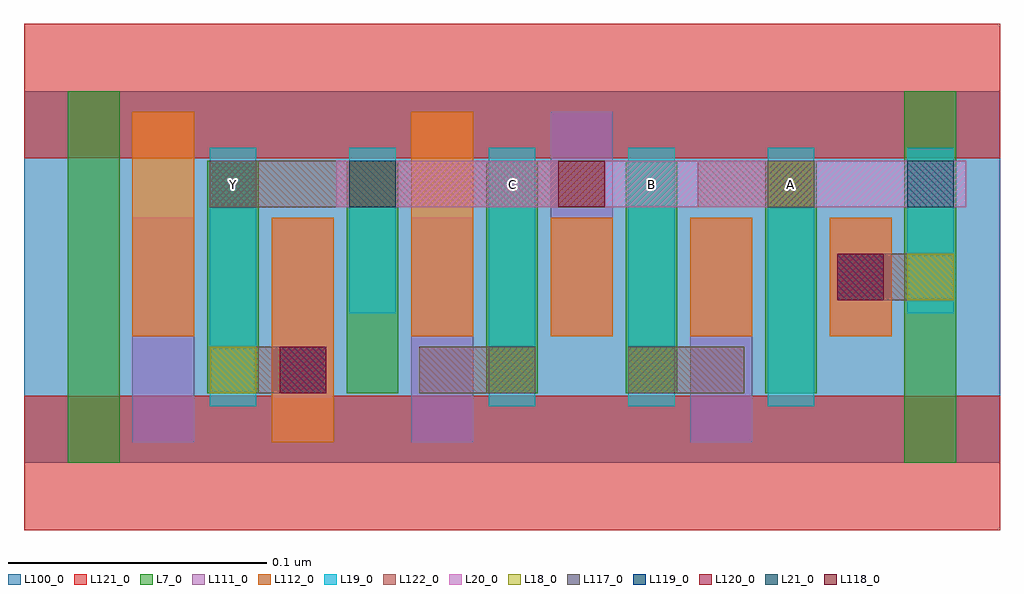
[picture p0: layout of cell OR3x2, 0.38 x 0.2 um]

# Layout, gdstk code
import gdstk
lib = gdstk.Library(unit=1e-6, precision=2.5e-10)
def R(c, l, rs):  # rectangles x0, y0, x1, y1
    for r in rs: c.add(gdstk.rectangle(r[:2], r[2:], *l))
def A(c, l, x, y, w, h, nx, ny, dx, dy):  # array of equal rectangles
    R(c, l, [(x+i*dx, y+j*dy, x+i*dx+w, y+j*dy+h) for i in range(nx) for j in range(ny)])
L7_0 = (7, 0)
L18_0 = (18, 0)
L19_0 = (19, 0)
L20_0 = (20, 0)
L21_0 = (21, 0)
L100_0 = (100, 0)
L111_0 = (111, 0)
L112_0 = (112, 0)
L117_0 = (117, 0)
L118_0 = (118, 0)
L119_0 = (119, 0)
L120_0 = (120, 0)
L121_0 = (121, 0)
L122_0 = (122, 0)

or3x2 = lib.new_cell('OR3x2')
A(or3x2, L7_0, 0.071, 0.027, 0.02, 0.09, 5, 1, 0.054, 0)
R(or3x2, L7_0, [(0.017,0,0.037,0.144), (0.341,0,0.361,0.144)])
R(or3x2, L18_0, [(0.072,0.027,0.09,0.045), (0.18,0.027,0.198,0.045), (0.234,0.027,0.252,0.045), (0.342,0.063,0.36,0.081), (0.126,0.099,0.144,0.117), (0.288,0.099,0.306,0.117)])
A(or3x2, L19_0, 0.18, 0.022, 0.018, 0.1, 3, 1, 0.054, 0)
R(or3x2, L19_0, [(0.072,0.022,0.09,0.122), (0.126,0.058,0.144,0.122), (0.342,0.058,0.36,0.122)])
R(or3x2, L20_0, [(0.121,0.099,0.365,0.117)])
R(or3x2, L21_0, [(0.126,0.099,0.144,0.117), (0.342,0.099,0.36,0.117)])
R(or3x2, L100_0, [(0,0,0.378,0.144)])
A(or3x2, L111_0, 0.042, 0.008, 0.024, 0.087, 3, 1, 0.054, 0)
R(or3x2, L111_0, [(0.258,0.008,0.282,0.095), (0.204,0.049,0.228,0.136), (0.312,0.049,0.336,0.095)])
A(or3x2, L112_0, 0.204, 0.049, 0.024, 0.046, 3, 1, 0.054, 0)
R(or3x2, L112_0, [(0.096,0.008,0.12,0.095), (0.042,0.049,0.066,0.136), (0.15,0.049,0.174,0.136)])
R(or3x2, L117_0, [(0.18,0.027,0.198,0.045), (0.234,0.027,0.252,0.045), (0.072,0.099,0.09,0.117), (0.126,0.099,0.144,0.117), (0.288,0.099,0.306,0.117)])
R(or3x2, L118_0, [(0.207,0.099,0.225,0.117)])
R(or3x2, L119_0, [(0.099,0.027,0.117,0.045), (0.315,0.063,0.333,0.081)])
R(or3x2, L120_0, [(0.099,0.027,0.117,0.045), (0.315,0.063,0.333,0.081)])
R(or3x2, L121_0, [(0,-0.026,0.378,0.026), (0,0.118,0.378,0.17)])
A(or3x2, L122_0, 0.072, 0.027, 0.045, 0.018, 3, 1, 0.081, 0)
R(or3x2, L122_0, [(0.315,0.063,0.36,0.081), (0.072,0.099,0.225,0.117), (0.261,0.099,0.306,0.117)])
or3x2.add(gdstk.Label('Y', (0.081,0.108), layer=19, texttype=251))
or3x2.add(gdstk.Label('C', (0.189,0.108), layer=19, texttype=251))
or3x2.add(gdstk.Label('B', (0.243,0.108), layer=19, texttype=251))
or3x2.add(gdstk.Label('A', (0.297,0.108), layer=19, texttype=251))

lib.write_gds('OR3x2.gds')
